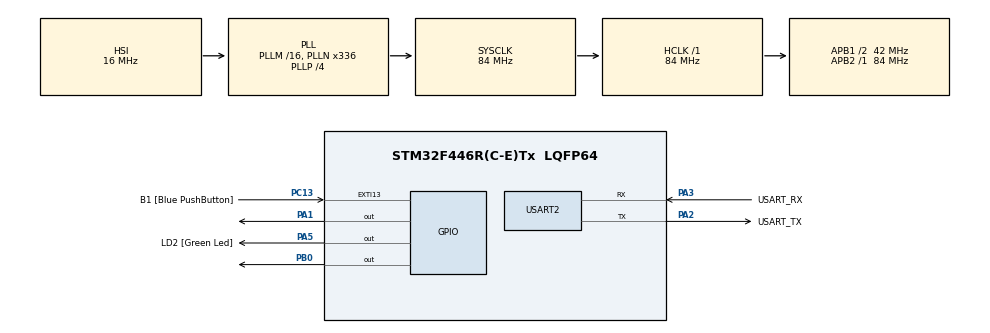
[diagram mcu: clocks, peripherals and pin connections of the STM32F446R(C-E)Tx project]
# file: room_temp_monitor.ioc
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Mcu.Family=STM32F4
Mcu.Name=STM32F446R(C-E)Tx
Mcu.Package=LQFP64
NVIC.PriorityGroup=NVIC_PRIORITYGROUP_0
PA1.Signal=GPIO_Output
PA13.GPIO_Label=TMS
PA13.Mode=Serial_Wire
PA13.Signal=SYS_JTMS-SWDIO
PA14.GPIO_Label=TCK
PA14.Mode=Serial_Wire
PA14.Signal=SYS_JTCK-SWCLK
PA2.GPIO_Label=USART_TX
PA2.Mode=Asynchronous
PA2.Signal=USART2_TX
PA3.GPIO_Label=USART_RX
PA3.Mode=Asynchronous
PA3.Signal=USART2_RX
PA5.GPIO_Label=LD2 [Green Led]
PA5.Signal=GPIO_Output
PB0.Signal=GPIO_Output
PB3.GPIO_Label=SWO
PB3.Signal=SYS_JTDO-SWO
PC13.GPIO_Label=B1 [Blue PushButton]
PC13.GPIO_ModeDefaultEXTI=GPIO_MODE_IT_FALLING
PC13.Signal=GPXTI13
PC14-OSC32_IN.Mode=LSE-External-Oscillator
PC14-OSC32_IN.Signal=RCC_OSC32_IN
PC15-OSC32_OUT.Mode=LSE-External-Oscillator
PC15-OSC32_OUT.Signal=RCC_OSC32_OUT
PH0-OSC_IN.Mode=HSE-External-Oscillator
PH0-OSC_IN.Signal=RCC_OSC_IN
PH1-OSC_OUT.Mode=HSE-External-Oscillator
PH1-OSC_OUT.Signal=RCC_OSC_OUT
ProjectManager.HeapSize=0x200
ProjectManager.StackSize=0x400
ProjectManager.TargetToolchain=STM32CubeIDE
RCC.48MHZClocksFreq_Value=84000000
RCC.AHBFreq_Value=84000000
RCC.APB1CLKDivider=RCC_HCLK_DIV2
RCC.APB1Freq_Value=42000000
RCC.APB1TimFreq_Value=84000000
RCC.APB2Freq_Value=84000000
RCC.APB2TimFreq_Value=84000000
RCC.CortexFreq_Value=84000000
RCC.FLatency-AdvancedSettings=FLASH_LATENCY_2
RCC.HCLKFreq_Value=84000000
RCC.HSE_VALUE=8000000
RCC.HSI_VALUE=16000000
RCC.PLLN=336
RCC.PLLP=RCC_PLLP_DIV4
RCC.SYSCLKFreq_VALUE=84000000
RCC.SYSCLKSource=RCC_SYSCLKSOURCE_PLLCLK
RCC.USBFreq_Value=168000000
RCC.VCOOutputFreq_Value=336000000
TIM2.Prescaler=83
USART2.VirtualMode=VM_ASYNC
VP_TIM2_VS_ClockSourceINT.Mode=Internal
board=NUCLEO-F446RE

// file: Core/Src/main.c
/* USER CODE BEGIN Header */
/**
  ******************************************************************************
  * @file           : main.c
  * @brief          : Main program body
  ******************************************************************************
  * @attention
  *
  * Copyright (c) 2026 STMicroelectronics.
  * All rights reserved.
  *
  * This software is licensed under terms that can be found in the LICENSE file
  * in the root directory of this software component.
  * If no LICENSE file comes with this software, it is provided AS-IS.
  *
  ******************************************************************************
  */
/* USER CODE END Header */
#include "main.h"

/* USER CODE BEGIN Includes */
#include <stdio.h>

/* USER CODE END Includes */

/* USER CODE BEGIN PD */
#define RCC_AHB1ENR  (*(volatile uint32_t*)0x40023830)
#define GPIOB_MODER  (*(volatile uint32_t*)0x40020400)
#define GPIOB_ODR    (*(volatile uint32_t*)0x40020414)
#define GPIOB_IDR    (*(volatile uint32_t*)0x40020410)
#define GPIOA_MODER  (*(volatile uint32_t*)0x40020000)
#define GPIOA_ODR    (*(volatile uint32_t*)0x40020014)
/* USER CODE END PD */

TIM_HandleTypeDef htim2;

UART_HandleTypeDef huart2;

void SystemClock_Config(void);
static void MX_GPIO_Init(void);
static void MX_USART2_UART_Init(void);
static void MX_TIM2_Init(void);

int main(void)
{

  /* MCU Configuration--------------------------------------------------------*/

  /* Reset of all peripherals, Initializes the Flash interface and the Systick. */
  HAL_Init();

  /* Configure the system clock */
  SystemClock_Config();

  /* Initialize all configured peripherals */
  MX_GPIO_Init();
  MX_USART2_UART_Init();
  MX_TIM2_Init();
  /* USER CODE BEGIN 2 */
  HAL_TIM_Base_Start(&htim2);

  RCC_AHB1ENR |= (1 << 0) | (1 << 1);

  GPIOA_MODER |= (1 << 2);
  GPIOA_MODER &= ~(1 << 3); // PA1 output=01

  /* USER CODE END 2 */

  /* Infinite loop */
  while (1)
  {

    /* USER CODE BEGIN 3 */

	  GPIOB_MODER |= (1 << 0);
	  GPIOB_MODER &= ~(1 << 1); // output=01

	  GPIOB_ODR &= ~(1 << 0);
	  HAL_Delay(20);
	  GPIOB_ODR |= (1 << 0);

	  GPIOB_MODER &= ~(1 << 0) & ~(1 << 1); // input = 00

	  // sensor boot up wait for high and low initially
	  while(!(GPIOB_IDR & (1 << 0)));

	  while(GPIOB_IDR & (1 << 0));

	  while(!(GPIOB_IDR & (1 << 0)));

	  while(GPIOB_IDR & (1 << 0));

	  //

	  uint8_t bytes[5] = {0};
	  int num = 0;
	  for(int i = 0; i < 40; i++) {
		  if (i != 0 && i % 8 == 0) {
			  num++;
		  }
		  //wait for input to go high
		  while(!(GPIOB_IDR & (1 << 0)));
		  __HAL_TIM_SET_COUNTER(&htim2, 0);

		  // wait for input to go low
		  while(GPIOB_IDR & (1 << 0));
		  uint32_t high_time = __HAL_TIM_GET_COUNTER(&htim2);
		  if (high_time < 50) {
			  bytes[num] &= ~(1 << (7 - (i % 8)));
		  } else {
			  bytes[num] |= (1 << (7 - (i % 8)));
		  }
//		  char msg[32];
//		  int len = sprintf(msg, "High time: %lu us\r\n", high_time);
//		  HAL_UART_Transmit(&huart2, (uint8_t*)msg, len, HAL_MAX_DELAY);
	  }

	  // checksum

	  char dbg[64];
	  int dlen = sprintf(dbg, "Bytes: %d %d %d %d %d\r\n", bytes[0], bytes[1], bytes[2], bytes[3], bytes[4]);
	  HAL_UART_Transmit(&huart2, (uint8_t*)dbg, dlen, HAL_MAX_DELAY);

	  if(bytes[4] == ((bytes[0] + bytes[1] + bytes[2] + bytes[3]) & 0xFF)) {
		  char msg[64];
		  int temp_f = (bytes[2] * 9 / 5) + 32;
		  int len = sprintf(msg, "Humidity: %d%%  Temp: %dF\r\n", bytes[0], temp_f);
		  HAL_UART_Transmit(&huart2, (uint8_t*)msg, len, HAL_MAX_DELAY);

		  if(temp_f > 75) {
			  GPIOA_ODR |= (1 << 1);
			  HAL_Delay(200);
			  GPIOA_ODR &= ~(1 << 1);
		  }
	  } else {
		  char msg[32];
		  int len = sprintf(msg, "Checksum failed\r\n");
		  HAL_UART_Transmit(&huart2, (uint8_t*)msg, len, HAL_MAX_DELAY);
	  }

	  HAL_Delay(1000);
  }
  /* USER CODE END 3 */
}

void SystemClock_Config(void)
{
  RCC_OscInitTypeDef RCC_OscInitStruct = {0};
  RCC_ClkInitTypeDef RCC_ClkInitStruct = {0};

  /** Configure the main internal regulator output voltage
  */
  __HAL_RCC_PWR_CLK_ENABLE();
  __HAL_PWR_VOLTAGESCALING_CONFIG(PWR_REGULATOR_VOLTAGE_SCALE3);

  /** Initializes the RCC Oscillators according to the specified parameters
  * in the RCC_OscInitTypeDef structure.
  */
  RCC_OscInitStruct.OscillatorType = RCC_OSCILLATORTYPE_HSI;
  RCC_OscInitStruct.HSIState = RCC_HSI_ON;
  RCC_OscInitStruct.HSICalibrationValue = RCC_HSICALIBRATION_DEFAULT;
  RCC_OscInitStruct.PLL.PLLState = RCC_PLL_ON;
  RCC_OscInitStruct.PLL.PLLSource = RCC_PLLSOURCE_HSI;
  RCC_OscInitStruct.PLL.PLLM = 16;
  RCC_OscInitStruct.PLL.PLLN = 336;
  RCC_OscInitStruct.PLL.PLLP = RCC_PLLP_DIV4;
  RCC_OscInitStruct.PLL.PLLQ = 2;
  RCC_OscInitStruct.PLL.PLLR = 2;
  if (HAL_RCC_OscConfig(&RCC_OscInitStruct) != HAL_OK)
  {
    Error_Handler();
  }

  /** Initializes the CPU, AHB and APB buses clocks
  */
  RCC_ClkInitStruct.ClockType = RCC_CLOCKTYPE_HCLK|RCC_CLOCKTYPE_SYSCLK
                              |RCC_CLOCKTYPE_PCLK1|RCC_CLOCKTYPE_PCLK2;
  RCC_ClkInitStruct.SYSCLKSource = RCC_SYSCLKSOURCE_PLLCLK;
  RCC_ClkInitStruct.AHBCLKDivider = RCC_SYSCLK_DIV1;
  RCC_ClkInitStruct.APB1CLKDivider = RCC_HCLK_DIV2;
  RCC_ClkInitStruct.APB2CLKDivider = RCC_HCLK_DIV1;

  if (HAL_RCC_ClockConfig(&RCC_ClkInitStruct, FLASH_LATENCY_2) != HAL_OK)
  {
    Error_Handler();
  }
}

static void MX_TIM2_Init(void)
{

  TIM_ClockConfigTypeDef sClockSourceConfig = {0};
  TIM_MasterConfigTypeDef sMasterConfig = {0};

  htim2.Instance = TIM2;
  htim2.Init.Prescaler = 83;
  htim2.Init.CounterMode = TIM_COUNTERMODE_UP;
  htim2.Init.Period = 4294967295;
  htim2.Init.ClockDivision = TIM_CLOCKDIVISION_DIV1;
  htim2.Init.AutoReloadPreload = TIM_AUTORELOAD_PRELOAD_DISABLE;
  if (HAL_TIM_Base_Init(&htim2) != HAL_OK)
  {
    Error_Handler();
  }
  sClockSourceConfig.ClockSource = TIM_CLOCKSOURCE_INTERNAL;
  if (HAL_TIM_ConfigClockSource(&htim2, &sClockSourceConfig) != HAL_OK)
  {
    Error_Handler();
  }
  sMasterConfig.MasterOutputTrigger = TIM_TRGO_RESET;
  sMasterConfig.MasterSlaveMode = TIM_MASTERSLAVEMODE_DISABLE;
  if (HAL_TIMEx_MasterConfigSynchronization(&htim2, &sMasterConfig) != HAL_OK)
  {
    Error_Handler();
  }

}

static void MX_USART2_UART_Init(void)
{

  huart2.Instance = USART2;
  huart2.Init.BaudRate = 115200;
  huart2.Init.WordLength = UART_WORDLENGTH_8B;
  huart2.Init.StopBits = UART_STOPBITS_1;
  huart2.Init.Parity = UART_PARITY_NONE;
  huart2.Init.Mode = UART_MODE_TX_RX;
  huart2.Init.HwFlowCtl = UART_HWCONTROL_NONE;
  huart2.Init.OverSampling = UART_OVERSAMPLING_16;
  if (HAL_UART_Init(&huart2) != HAL_OK)
  {
    Error_Handler();
  }

}

static void MX_GPIO_Init(void)
{
  GPIO_InitTypeDef GPIO_InitStruct = {0};

  /* GPIO Ports Clock Enable */
  __HAL_RCC_GPIOC_CLK_ENABLE();
  __HAL_RCC_GPIOH_CLK_ENABLE();
  __HAL_RCC_GPIOA_CLK_ENABLE();
  __HAL_RCC_GPIOB_CLK_ENABLE();

  /*Configure GPIO pin Output Level */
  HAL_GPIO_WritePin(GPIOA, GPIO_PIN_1|LD2_Pin, GPIO_PIN_RESET);

  /*Configure GPIO pin Output Level */
  HAL_GPIO_WritePin(GPIOB, GPIO_PIN_0, GPIO_PIN_RESET);

  /*Configure GPIO pin : B1_Pin */
  GPIO_InitStruct.Pin = B1_Pin;
  GPIO_InitStruct.Mode = GPIO_MODE_IT_FALLING;
  GPIO_InitStruct.Pull = GPIO_NOPULL;
  HAL_GPIO_Init(B1_GPIO_Port, &GPIO_InitStruct);

  /*Configure GPIO pins : PA1 LD2_Pin */
  GPIO_InitStruct.Pin = GPIO_PIN_1|LD2_Pin;
  GPIO_InitStruct.Mode = GPIO_MODE_OUTPUT_PP;
  GPIO_InitStruct.Pull = GPIO_NOPULL;
  GPIO_InitStruct.Speed = GPIO_SPEED_FREQ_LOW;
  HAL_GPIO_Init(GPIOA, &GPIO_InitStruct);

  /*Configure GPIO pin : PB0 */
  GPIO_InitStruct.Pin = GPIO_PIN_0;
  GPIO_InitStruct.Mode = GPIO_MODE_OUTPUT_PP;
  GPIO_InitStruct.Pull = GPIO_NOPULL;
  GPIO_InitStruct.Speed = GPIO_SPEED_FREQ_LOW;
  HAL_GPIO_Init(GPIOB, &GPIO_InitStruct);

}

void Error_Handler(void)
{
  __disable_irq();
  while (1)
  {
  }
}
